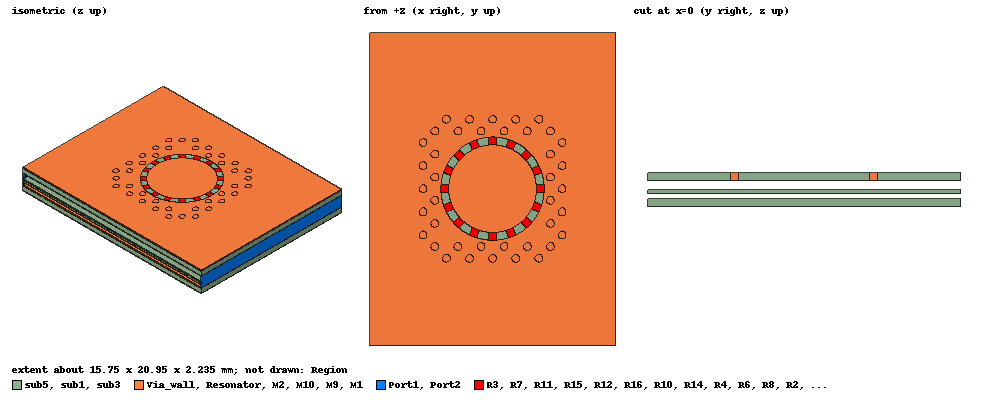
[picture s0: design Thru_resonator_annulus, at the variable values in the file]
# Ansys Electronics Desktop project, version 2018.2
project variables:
  $mask = 0.8mil
  $sub5 = 20mil
  $gap = 0mm
  $sub1 = 20mil
  $sub3 = 10mil
  $width = $a*2 + $l + 2mm
  $a = 6mm
  $l = $stripline_w
  $stripline_w = 1.75mm
  $length = (95-0.6) mm
  $GCPW_w = 2.15mm
  $GCPW_l = 4.7mm
  $cavity_length = 80mm
  $cavity_width = 30mm
  $sub4 = 20mil
  $sub2 = 20mil
  $connect_width = $width
  $connect_length = 4.7mm
  $GCPW_g = 1.5mm
  $g = 0.2mm
  $b = $a
  $l_input = 10mm
  $w_os = 1.5mm
  $l_L = 12.8364mm
  $l_outer = 11.5mm
  $w_mid = 0.85mm
  $l_is = 25.1163mm
  $w_is = 0.75mm
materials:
  Rogers RO3010 (tm): permittivity=10.2 dielectric_loss_tangent=0.0035
  Rogers RT/duroid 6002 (tm): permittivity=2.94 dielectric_loss_tangent=0.0012
  air: permittivity=1.0006 permeability=1.0000004
  copper: permeability=0.999991 conductivity=58000000
  vacuum: permittivity=1

design Thru_resonator_annulus (HFSS, DrivenModal, model units mm)
options: Calculate_Lossy_Dielectrics
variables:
  layer3_height = 4*$mask + $sub5 + sub4 + $gap*2
  length = (2.5 - 1 - .633) mm
  gap = 0.889mm
  w_2 = 0.61mm
  layer1_height = 8*$mask + $sub5 + sub4 + $sub3 + sub2 + $gap*4
  layer2_height = 6*$mask + $sub5 + sub4 + $sub3 + $gap*3
  layer4_height = 2*$mask + $sub5 + $gap
  height = $mask*10 + $sub1 + sub2 + $sub3 + sub4 + $sub5
  radius = 0.25mm
  via = 0.5mm
  radius_s = 0.1mm
  height_s = $mask*6 + $sub1 + sub2 + $sub3
  port_width = 14.6mm
  port_height = 6mm
  gap1 = 20mm
  wid = 7.38mm
  via_r = 0.25mm
  aper = 1mm
  sub1 = 20mil
  sub2 = 20mil
  sub4 = 10mil
  annulus = 2.8mm
  R_width = 0.5mm
  Res = 1ohm
  a = 4.6mm
  g = 0.2mm
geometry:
  sub3 [Rogers RT/duroid 6002 (tm)] = box(corner=(-$width/2, -$length/2, 5*$mask + $sub5 + sub4 + $gap*2), size=($width, $length, $sub3))
  Rectangle5 = rectangle(corner=(-$GCPW_w/2, -$length/2, layer3_height + $mask + $sub3), x_size=$GCPW_w, y_size=$GCPW_l - gap)
  Thru [copper] = Rectangle5.duplicate_around_axis(axis=Z, angle=180deg, total=2)
  Thru.thicken($mask)
  Polyline1 = polyline(z=layer3_height + $mask + $sub3, xy: ($GCPW_w/2, $length/2 - $GCPW_l + gap) (0.305mm, $length/2 - $GCPW_l -1 mm) (-0.305mm, $length/2 - $GCPW_l -1 mm) (-$GCPW_w/2, $length/2 - $GCPW_l + gap) ($GCPW_w/2, $length/2 - $GCPW_l + gap), closed, covered)
  Polyline1.thicken(-$mask)
  Rectangle8 = rectangle(corner=(-w_2/2, -$length/2 + $GCPW_l +1 mm, layer3_height+$mask+$sub3), x_size=w_2, y_size=length)
  Rectangle8_1 = Rectangle8.duplicate_around_axis(axis=Z, angle=180deg, total=2)
  Rectangle8_1.thicken($mask)
  Polyline2 = polyline(z=layer3_height + $mask + $sub3, xy: (0.305mm, $length/2 - $GCPW_l -1 mm - length) ($stripline_w/2, $cavity_length/2 - gap) (-$stripline_w/2, $cavity_length/2 - gap) (-0.305mm, $length/2 - $GCPW_l -1 mm - length) (0.305mm, $length/2 - $GCPW_l -1 mm - length), closed, covered)
  Polyline2.thicken(-$mask)
  Rectangle6 = rectangle(corner=(-$stripline_w/2, -$cavity_length/2 + gap, layer3_height + $mask + $sub3), x_size=$stripline_w, y_size=$cavity_length - 2*gap)
  Rectangle6.thicken($mask)
  Polyline3 = polyline(z=layer3_height + $mask + $sub3, xy: ($stripline_w/2, -$cavity_length/2 + gap) (0.305mm, -$length/2 + $GCPW_l +1 mm + length) (-0.305mm, -$length/2 + $GCPW_l +1 mm + length) (-$stripline_w/2, -$cavity_length/2 + gap) ($stripline_w/2, -$cavity_length/2 + gap), closed, covered)
  Polyline3.thicken(-$mask)
  Rectangle8.thicken($mask)
  Polyline4 = polyline(z=layer3_height + $mask + $sub3, xy: ($GCPW_w/2, -$length/2 + $GCPW_l - gap) (0.305mm, -$length/2 + $GCPW_l +1 mm) (-0.305mm, -$length/2 + $GCPW_l +1 mm) (-$GCPW_w/2, -$length/2 + $GCPW_l - gap) ($GCPW_w/2, -$length/2 + $GCPW_l - gap), closed, covered)
  [Polyline4, Rectangle5].thicken($mask)
  Thru.unite(Polyline1, Rectangle8_1, Polyline2, Rectangle6, Polyline3, Rectangle8, Polyline4, Rectangle5)
  M1 [copper] = box(corner=(-$width/2, -$length/2, 9*$mask + $sub5 + sub4 + $sub3 + sub2 + sub1 + $gap*4), size=($width, $length, $mask))
  sub1 [Rogers RO3010 (tm)] = box(corner=(-$width/2, -$length/2, 9*$mask + $sub5 + sub4 + $sub3 + sub2 + $gap*4), size=($width, $length, sub1))
  M2 [copper] = box(corner=(-$width/2, -$length/2, layer1_height), size=($width, $length, $mask))
  M9 [copper] = box(corner=(-$width/2, -$length/2, $mask + $sub5), size=($width, $length, $mask))
  sub5 [Rogers RT/duroid 6002 (tm)] = box(corner=(-$width/2, -$length/2, $mask), size=($width, $length, $sub5))
  M10 [copper] = box(corner=(-$width/2, -$length/2, 0mm), size=($width, $length, $mask))
  Cut1 = box(corner=(-$width/2, -gap1/2, 0mm), size=($width, -60mm, 6mm))
  Cut2 = Cut1.duplicate_around_axis(axis=Z, angle=180deg, total=2)
  Cut3 = box(corner=(-$cavity_width/2, -gap1/2, 0mm), size=(-10mm, gap1, 6mm))
  Cut4 = Cut3.duplicate_around_axis(axis=Z, angle=180deg, total=2)
  Cut1_1 = Cut1.copy()
  Cut2_1 = Cut2.copy()
  Cut3_1 = Cut3.copy()
  Cut4_1 = Cut4.copy()
  [Cut1..Cut4].delete()
  Port1 = rectangle(corner=(-$width/2, -gap1/2, $mask*2 + $sub5), z_size=sub2 + $sub3 + sub4 + $mask*6, x_size=$width)
  Port2 = Port1.duplicate_around_axis(axis=Z, angle=180deg, total=2)
  Region [air] = region(percentage_offset: +X=0, -X=0, +Y=0, -Y=0, +Z=10, -Z=0)
  Cut1_1_1 = Cut1_1.copy()
  Cut2_1_1 = Cut2_1.copy()
  Cut3_1_1 = Cut3_1.copy()
  Cut4_1_1 = Cut4_1.copy()
  M1.subtract(Cut1_1_1, Cut2_1_1, Cut3_1_1, Cut4_1_1)
  Cut1_1_2 = Cut1_1.copy()
  Cut2_1_2 = Cut2_1.copy()
  Cut3_1_2 = Cut3_1.copy()
  Cut4_1_2 = Cut4_1.copy()
  M10.subtract(Cut1_1_2, Cut2_1_2, Cut3_1_2, Cut4_1_2)
  Cut1_1_3 = Cut1_1.copy()
  Cut2_1_3 = Cut2_1.copy()
  Cut3_1_3 = Cut3_1.copy()
  Cut4_1_3 = Cut4_1.copy()
  M2.subtract(Cut1_1_3, Cut2_1_3, Cut3_1_3, Cut4_1_3)
  Cut1_1_4 = Cut1_1.copy()
  Cut2_1_4 = Cut2_1.copy()
  Cut3_1_4 = Cut3_1.copy()
  Cut4_1_4 = Cut4_1.copy()
  M9.subtract(Cut1_1_4, Cut2_1_4, Cut3_1_4, Cut4_1_4)
  Cut1_1_5 = Cut1_1.copy()
  Cut2_1_5 = Cut2_1.copy()
  Cut3_1_5 = Cut3_1.copy()
  Cut4_1_5 = Cut4_1.copy()
  sub1.subtract(Cut1_1_5, Cut2_1_5, Cut3_1_5, Cut4_1_5)
  Cut1_1_6 = Cut1_1.copy()
  Cut2_1_6 = Cut2_1.copy()
  Cut3_1_6 = Cut3_1.copy()
  Cut4_1_6 = Cut4_1.copy()
  sub3.subtract(Cut1_1_6, Cut2_1_6, Cut3_1_6, Cut4_1_6)
  Cut1_1_7 = Cut1_1.copy()
  Cut2_1_7 = Cut2_1.copy()
  Cut3_1_7 = Cut3_1.copy()
  Cut4_1_7 = Cut4_1.copy()
  sub5.subtract(Cut1_1_7, Cut2_1_7, Cut3_1_7, Cut4_1_7)
  Cut1_1_8 = Cut1_1.copy()
  Cut1_1.delete()
  Cut2_1_8 = Cut2_1.copy()
  Cut2_1.delete()
  Cut3_1_8 = Cut3_1.copy()
  Cut3_1.delete()
  Cut4_1_8 = Cut4_1.copy()
  Cut4_1.delete()
  Thru.subtract(Cut1_1_8, Cut2_1_8, Cut3_1_8, Cut4_1_8)
  Resonator [copper] = cylinder(axis=Z, base_centre=(-wid/2, -wid/2, layer1_height), radius=via_r, height=2*$mask + sub1)
  Cylinder5_1..Cylinder5_5 = Resonator.duplicate_along_line(step=((wid)/5, 0mm, 0mm), total=6)
  Cylinder5_6..Cylinder5_10 = Resonator.duplicate_along_line(step=(0mm, (wid)/5, 0mm), total=6)
  Cylinder5_11 = Resonator.duplicate_around_axis(axis=Z, angle=180deg, total=2)
  Cylinder5_1_1 = Cylinder5_1.duplicate_around_axis(axis=Z, angle=180deg, total=2)
  Cylinder5_2_1 = Cylinder5_2.duplicate_around_axis(axis=Z, angle=180deg, total=2)
  Cylinder5_3_1 = Cylinder5_3.duplicate_around_axis(axis=Z, angle=180deg, total=2)
  Cylinder5_4_1 = Cylinder5_4.duplicate_around_axis(axis=Z, angle=180deg, total=2)
  Cylinder5_6_1 = Cylinder5_6.duplicate_around_axis(axis=Z, angle=180deg, total=2)
  Cylinder5_7_1 = Cylinder5_7.duplicate_around_axis(axis=Z, angle=180deg, total=2)
  Cylinder5_8_1 = Cylinder5_8.duplicate_around_axis(axis=Z, angle=180deg, total=2)
  Cylinder5_9_1 = Cylinder5_9.duplicate_around_axis(axis=Z, angle=180deg, total=2)
  Resonator.unite(Cylinder5_1, Cylinder5_1_1, Cylinder5_2, Cylinder5_2_1, Cylinder5_3, Cylinder5_3_1, Cylinder5_4, Cylinder5_4_1, Cylinder5_5, Cylinder5_6, Cylinder5_6_1, Cylinder5_7, Cylinder5_7_1, Cylinder5_8, Cylinder5_8_1, Cylinder5_9, Cylinder5_9_1, Cylinder5_10, Cylinder5_11)
  Box1 = box(corner=(-(wid - 3*via_r)/2, -wid/2 + 2*via_r, layer1_height), size=(wid - 3*via_r, aper, $mask))
  M2.subtract(Box1)
  Resonator_1 = Resonator.copy()
  M1.subtract(Resonator_1)
  Resonator_2 = Resonator.copy()
  M2.subtract(Resonator_2)
  Resonator_3 = Resonator.copy()
  sub1.subtract(Resonator_3)
  Via_wall [copper] = cylinder(axis=Z, base_centre=(-wid/2 + (wid)/10, -wid/2  - 3*via_r, layer1_height), radius=via_r, height=$mask*2 + sub1)
  Cylinder1_1..Cylinder1_4 = Via_wall.duplicate_along_line(step=(wid/5, 0mm, 0mm), total=5)
  Cylinder1_5, Cylinder1_6, Cylinder1_7 = Via_wall.duplicate_around_axis(axis=Z, angle=90deg, total=4)
  Cylinder1_1_1, Cylinder1_1_2, Cylinder1_1_3 = Cylinder1_1.duplicate_around_axis(axis=Z, angle=90deg, total=4)
  Cylinder1_2_1, Cylinder1_2_2, Cylinder1_2_3 = Cylinder1_2.duplicate_around_axis(axis=Z, angle=90deg, total=4)
  Cylinder1_3_1, Cylinder1_3_2, Cylinder1_3_3 = Cylinder1_3.duplicate_around_axis(axis=Z, angle=90deg, total=4)
  Cylinder1_4_1, Cylinder1_4_2, Cylinder1_4_3 = Cylinder1_4.duplicate_around_axis(axis=Z, angle=90deg, total=4)
  Via_wall.unite(Cylinder1_1, Cylinder1_1_1, Cylinder1_1_2, Cylinder1_1_3, Cylinder1_2, Cylinder1_2_1, Cylinder1_2_2, Cylinder1_2_3, Cylinder1_3, Cylinder1_3_1, Cylinder1_3_2, Cylinder1_3_3, Cylinder1_4, Cylinder1_4_1, Cylinder1_4_2, Cylinder1_4_3, Cylinder1_5, Cylinder1_6, Cylinder1_7)
  Via_wall_1 = Via_wall.copy()
  M1.subtract(Via_wall_1)
  Via_wall_2 = Via_wall.copy()
  M2.subtract(Via_wall_2)
  Via_wall_3 = Via_wall.copy()
  sub1.subtract(Via_wall_3)
  Cylinder1 = cylinder(axis=Z, base_centre=(0mm, 0mm, layer1_height +$mask + $sub1), radius=annulus, height=$mask)
  Annulus = cylinder(axis=Z, base_centre=(0mm, 0mm, layer1_height + $mask + $sub1), radius=annulus + 0.5mm, height=$mask)
  Cylinder1_8 = Cylinder1.copy()
  Cylinder1.delete()
  Annulus.subtract(Cylinder1_8)
  M1.subtract(Annulus)
  R1 = rectangle(corner=(annulus - 0.25mm, -R_width/2, layer1_height + 3/2*$mask + $sub1), x_size=1mm, y_size=R_width)
  R2..R16 = R1.duplicate_around_axis(axis=Z, angle=22.5deg, total=16)
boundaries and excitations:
  LumpRLC1: Lumped RLC Objects=R1 CurrentLine{middle of R1.edge(x opposite corner) -> middle of R1.edge(x at corner)} Resistance=Res
  LumpRLC2: Lumped RLC Objects=R2 CurrentLine{middle of R2.edge(2 of 4) -> middle of R2.edge(4 of 4)} Resistance=Res
  LumpRLC3: Lumped RLC Objects=R3 CurrentLine{middle of R3.edge(2 of 4) -> middle of R3.edge(4 of 4)} Resistance=Res
  LumpRLC4: Lumped RLC Objects=R4 CurrentLine{middle of R4.edge(2 of 4) -> middle of R4.edge(4 of 4)} Resistance=Res
  LumpRLC5: Lumped RLC Objects=R5 CurrentLine{middle of R5.edge(2 of 4) -> middle of R5.edge(4 of 4)} Resistance=Res
  LumpRLC6: Lumped RLC Objects=R6 CurrentLine{middle of R6.edge(2 of 4) -> middle of R6.edge(4 of 4)} Resistance=Res
  LumpRLC7: Lumped RLC Objects=R7 CurrentLine{middle of R7.edge(2 of 4) -> middle of R7.edge(4 of 4)} Resistance=Res
  LumpRLC8: Lumped RLC Objects=R8 CurrentLine{middle of R8.edge(2 of 4) -> middle of R8.edge(4 of 4)} Resistance=Res
  LumpRLC9: Lumped RLC Objects=R9 CurrentLine{middle of R9.edge(2 of 4) -> middle of R9.edge(4 of 4)} Resistance=Res
  LumpRLC10: Lumped RLC Objects=R10 CurrentLine{middle of R10.edge(2 of 4) -> middle of R10.edge(4 of 4)} Resistance=Res
  LumpRLC11: Lumped RLC Objects=R11 CurrentLine{middle of R11.edge(2 of 4) -> middle of R11.edge(4 of 4)} Resistance=Res
  LumpRLC12: Lumped RLC Objects=R12 CurrentLine{middle of R12.edge(2 of 4) -> middle of R12.edge(4 of 4)} Resistance=Res
  LumpRLC13: Lumped RLC Objects=R13 CurrentLine{middle of R13.edge(2 of 4) -> middle of R13.edge(4 of 4)} Resistance=Res
  LumpRLC14: Lumped RLC Objects=R14 CurrentLine{middle of R14.edge(2 of 4) -> middle of R14.edge(4 of 4)} Resistance=Res
  LumpRLC15: Lumped RLC Objects=R15 CurrentLine{middle of R15.edge(2 of 4) -> middle of R15.edge(4 of 4)} Resistance=Res
  LumpRLC16: Lumped RLC Objects=R16 CurrentLine{middle of R16.edge(2 of 4) -> middle of R16.edge(4 of 4)} Resistance=Res
  1: Wave Port Objects=Port1 NumModes=1 Modes{Mode1{CharImp=Zpi}}
  2: Wave Port Objects=Port2 NumModes=1 Modes{Mode1{CharImp=Zpi}}
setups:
  Setup1: HfssDriven Frequency=8GHz MaxDeltaS=0.01 MaximumPasses=50 MinimumPasses=1 MinimumConvergedPasses=3 PercentRefinement=30 BasisOrder=1 PortAccuracy=2
    sweep Sweep: 7GHz to 9GHz step 0.0005GHz; Type=Interpolating InterpTolerance=0.5 InterpMaxSolns=250 InterpUsePortImped=false PassivityErrorTolerance=0.0001
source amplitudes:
  1:1: 1W 0deg
  2:1: 0W 0deg
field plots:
  Mag_E1: E Field in sub1 on Setup1 : LastAdaptive at Freq=8GHz Phase=0deg
  Mag_E2: E Field over sub1.face(+z) on Setup1 : LastAdaptive at Freq=8GHz Phase=0deg
  Vector_Jsurf1: Jsurf over M1.face(all 50) on Setup1 : LastAdaptive at Freq=8GHz Phase=0deg
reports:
  S Parameter Plot 1: dB(S(1,1)), dB(S(2,1)) vs Freq on Setup1 : Sweep; markers m1 at 7.948GHz, m2 at 8.05GHz, m3 at 8.001GHz
